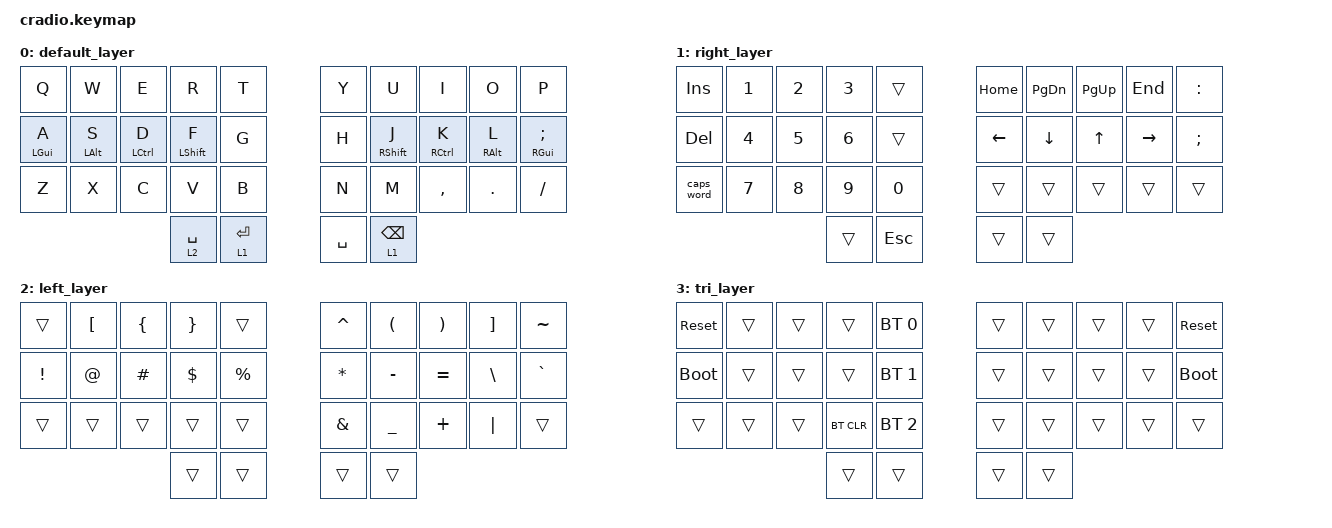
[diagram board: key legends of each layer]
// Copyright (c) 2022 The ZMK Contributors
// SPDX-License-Identifier: MIT

#include <behaviors.dtsi>
#include <dt-bindings/zmk/bt.h>
#include <dt-bindings/zmk/keys.h>

/ {
    behaviors {
        ht: hold_tap {
            compatible = "zmk,behavior-hold-tap";
            #binding-cells = <2>;
            flavor = "tap-preferred";
            tapping-term-ms = <220>;
            quick-tap-ms = <150>;
            require-prior-idle-ms = <100>;
            bindings = <&kp>, <&kp>;
        };

        hrm: hrm {
            compatible = "zmk,behavior-hold-tap";
            #binding-cells = <2>;
            flavor = "tap-preferred";
            tapping-term-ms = <200>;
            quick-tap-ms = <200>;
            require-prior-idle-ms = <125>;
            bindings = <&kp>, <&kp>;
        };
    };

    conditional_layers {
        compatible = "zmk,conditional-layers";

        tri_layer {
            if-layers = <1 2>;
            then-layer = <3>;
        };
    };

    combos {
        compatible = "zmk,combos";

        esc {
            bindings = <&kp ESCAPE>;
            key-positions = <0 1>;
        };
    };

    keymap {
        compatible = "zmk,keymap";

        default_layer {
            bindings = <
&kp Q        &kp W        &kp E         &kp R         &kp T          &kp Y      &kp U         &kp I         &kp O        &kp P
&hrm LGUI A  &hrm LALT S  &hrm LCTRL D  &hrm LSHFT F  &kp G          &kp H      &hrm RSHFT J  &hrm RCTRL K  &hrm RALT L  &hrm RGUI SEMICOLON
&kp Z        &kp X        &kp C         &kp V         &kp B          &kp N      &kp M         &kp COMMA     &kp DOT      &kp FSLH
                                        &lt 2 SPACE   &lt 1 ENTER    &kp SPACE  &lt 1 BSPC
            >;
        };

        right_layer {
            bindings = <
&kp INS     &kp N1  &kp N2  &kp N3  &trans     &kp HOME  &kp PG_DN  &kp PG_UP  &kp END    &kp COLON
&kp DEL     &kp N4  &kp N5  &kp N6  &trans     &kp LEFT  &kp DOWN   &kp UP     &kp RIGHT  &kp SEMI
&caps_word  &kp N7  &kp N8  &kp N9  &kp N0     &trans    &trans     &trans     &trans     &trans
                            &trans  &kp ESC    &trans    &trans
            >;
        };

        left_layer {
            bindings = <
&trans    &kp LBKT  &kp LBRC  &kp RBRC  &trans       &kp CARET  &kp LPAR   &kp RPAR   &kp RBKT  &kp TILDE
&kp EXCL  &kp AT    &kp HASH  &kp DLLR  &kp PRCNT    &kp ASTRK  &kp MINUS  &kp EQUAL  &kp BSLH  &kp GRAVE
&trans    &trans    &trans    &trans    &trans       &kp AMPS   &kp UNDER  &kp PLUS   &kp PIPE  &trans
                              &trans    &trans       &trans     &trans
            >;
        };

        tri_layer {
            bindings = <
&sys_reset   &trans  &trans  &trans      &bt BT_SEL 0    &trans  &trans  &trans  &trans  &sys_reset
&bootloader  &trans  &trans  &trans      &bt BT_SEL 1    &trans  &trans  &trans  &trans  &bootloader
&trans       &trans  &trans  &bt BT_CLR  &bt BT_SEL 2    &trans  &trans  &trans  &trans  &trans
                             &trans      &trans          &trans  &trans
            >;
        };
    };
};
